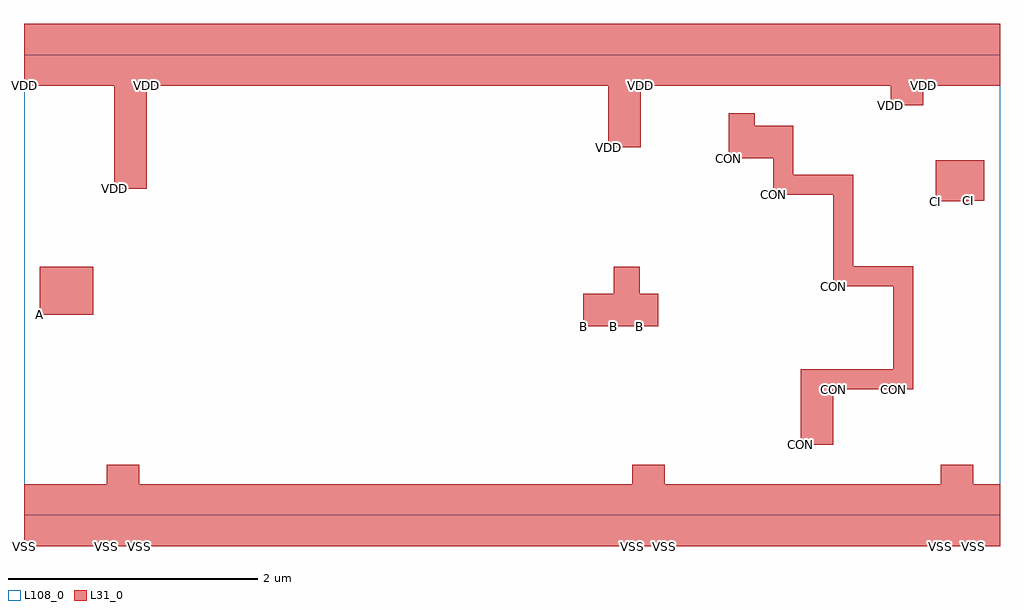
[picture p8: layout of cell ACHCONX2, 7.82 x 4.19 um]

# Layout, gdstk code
import gdstk
lib = gdstk.Library(unit=1e-6, precision=1e-09)
def R(c, l, rs):  # rectangles x0, y0, x1, y1
    for r in rs: c.add(gdstk.rectangle(r[:2], r[2:], *l))
L31_0 = (31, 0)
L108_0 = (108, 0)

achconx2 = lib.new_cell('ACHCONX2')
R(achconx2, L31_0, [(0,-0.25,0.665,0.25), (0.665,-0.25,0.925,0.405), (0.925,-0.25,4.875,0.25), (4.875,-0.25,5.135,0.405), (5.135,-0.25,7.345,0.25), (7.345,-0.25,7.605,0.405), (7.605,-0.25,7.82,0.25), (6.225,0.565,6.485,1.17), (6.485,1.01,6.965,1.17), (6.965,1.01,7.125,1.995), (4.48,1.515,4.725,1.775), (4.725,1.515,4.935,1.99), (4.935,1.515,5.08,1.775), (0.125,1.605,0.555,1.99), (6.485,1.835,6.645,2.73), (6.645,1.835,6.965,1.995), (7.305,2.515,7.565,2.845), (7.565,2.52,7.695,2.845), (6.005,2.57,6.165,3.12), (6.165,2.57,6.485,2.73), (0.725,2.615,0.985,3.94), (5.645,2.86,5.855,3.22), (5.855,2.86,6.005,3.12), (4.68,2.95,4.94,3.94), (6.945,3.285,7.205,3.94), (0,3.44,0.725,3.94), (0.985,3.44,4.68,3.94), (4.94,3.44,6.945,3.94), (7.205,3.44,7.82,3.94)])
R(achconx2, L108_0, [(0,0,7.82,3.69)])
achconx2.add(gdstk.Label('CON', (5.645,2.86), layer=131, texttype=0))
achconx2.add(gdstk.Label('CON', (5.855,2.86), layer=131, texttype=0))
achconx2.add(gdstk.Label('CON', (6.005,2.57), layer=131, texttype=0))
achconx2.add(gdstk.Label('CON', (6.165,2.57), layer=131, texttype=0))
achconx2.add(gdstk.Label('CON', (6.225,0.565), layer=131, texttype=0))
achconx2.add(gdstk.Label('CON', (6.485,1.835), layer=131, texttype=0))
achconx2.add(gdstk.Label('CON', (6.645,1.835), layer=131, texttype=0))
achconx2.add(gdstk.Label('CON', (6.485,1.01), layer=131, texttype=0))
achconx2.add(gdstk.Label('CON', (6.965,1.01), layer=131, texttype=0))
achconx2.add(gdstk.Label('CI', (7.305,2.515), layer=131, texttype=0))
achconx2.add(gdstk.Label('CI', (7.565,2.52), layer=131, texttype=0))
achconx2.add(gdstk.Label('B', (4.48,1.515), layer=131, texttype=0))
achconx2.add(gdstk.Label('B', (4.725,1.515), layer=131, texttype=0))
achconx2.add(gdstk.Label('B', (4.935,1.515), layer=131, texttype=0))
achconx2.add(gdstk.Label('A', (0.125,1.605), layer=131, texttype=0))
achconx2.add(gdstk.Label('VSS', (0,-0.25), layer=131, texttype=0))
achconx2.add(gdstk.Label('VSS', (0.665,-0.25), layer=131, texttype=0))
achconx2.add(gdstk.Label('VSS', (0.925,-0.25), layer=131, texttype=0))
achconx2.add(gdstk.Label('VSS', (4.875,-0.25), layer=131, texttype=0))
achconx2.add(gdstk.Label('VSS', (5.135,-0.25), layer=131, texttype=0))
achconx2.add(gdstk.Label('VSS', (7.345,-0.25), layer=131, texttype=0))
achconx2.add(gdstk.Label('VSS', (7.605,-0.25), layer=131, texttype=0))
achconx2.add(gdstk.Label('VDD', (0,3.44), layer=131, texttype=0))
achconx2.add(gdstk.Label('VDD', (0.725,2.615), layer=131, texttype=0))
achconx2.add(gdstk.Label('VDD', (0.985,3.44), layer=131, texttype=0))
achconx2.add(gdstk.Label('VDD', (4.68,2.95), layer=131, texttype=0))
achconx2.add(gdstk.Label('VDD', (4.94,3.44), layer=131, texttype=0))
achconx2.add(gdstk.Label('VDD', (6.945,3.285), layer=131, texttype=0))
achconx2.add(gdstk.Label('VDD', (7.205,3.44), layer=131, texttype=0))

lib.write_gds('ACHCONX2.gds')
